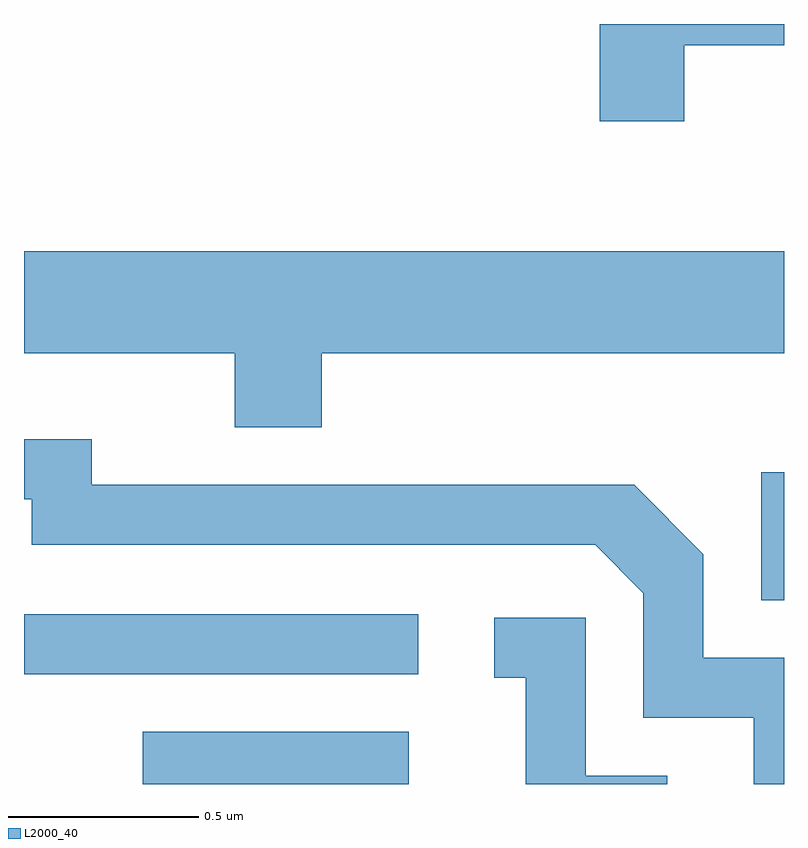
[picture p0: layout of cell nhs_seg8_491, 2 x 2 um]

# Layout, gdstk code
import gdstk
lib = gdstk.Library(unit=1e-6, precision=1e-09)
def R(c, l, rs):  # rectangles x0, y0, x1, y1
    for r in rs: c.add(gdstk.rectangle(r[:2], r[2:], *l))
def P(c, l, *ps):  # polygons
    for p in ps: c.add(gdstk.Polygon(p, *l))
L2000_40 = (2000, 40)

nhs_seg8_491 = lib.new_cell('nhs_seg8_491')
R(nhs_seg8_491, L2000_40, [(188.923,1886.342,189.624,1886.479), (188.611,1886.631,189.648,1886.789), (190.551,1886.826,190.611,1887.163)])
P(nhs_seg8_491, L2000_40, [(190.349,1888.286),(190.611,1888.286),(190.611,1888.342),(190.126,1888.342),(190.126,1888.086),(190.349,1888.086)],
  [(189.394,1887.476),(190.611,1887.476),(190.611,1887.744),(188.611,1887.744),(188.611,1887.476),(189.166,1887.476),(189.166,1887.281),(189.394,1887.281)],
  [(190.611,1886.674),(190.399,1886.674),(190.399,1886.947),(190.217,1887.129),(188.789,1887.129),(188.789,1887.249),(188.611,1887.249),(188.611,1887.091),(188.631,1887.091),(188.631,1886.971),(190.114,1886.971),(190.241,1886.844),(190.241,1886.516),(190.531,1886.516),(190.531,1886.342),(190.611,1886.342)],
  [(190.304,1886.364),(190.089,1886.364),(190.089,1886.779),(189.848,1886.779),(189.848,1886.621),(189.931,1886.621),(189.931,1886.342),(190.304,1886.342)])

lib.write_gds('nhs_seg8_491.gds')
